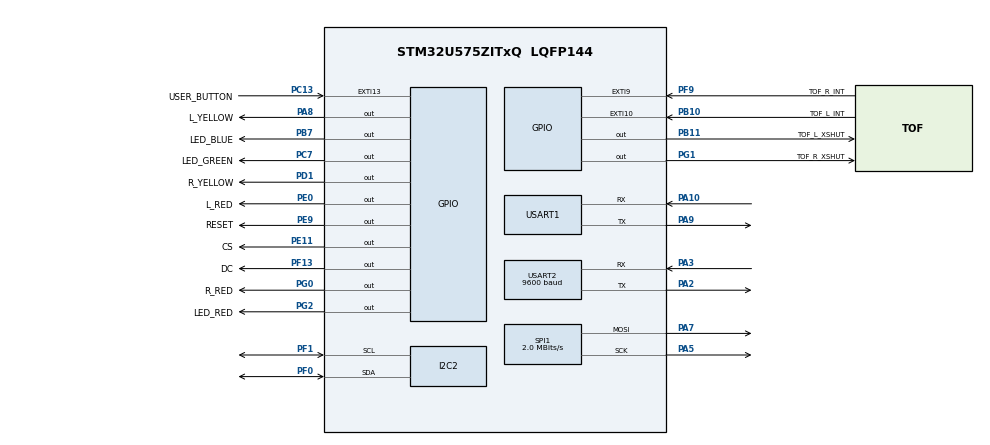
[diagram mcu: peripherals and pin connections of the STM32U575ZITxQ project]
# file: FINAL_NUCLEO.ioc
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CORTEX_M33_NS.userName=CORTEX_M33
I2C2.Timing=0x00000E14
Mcu.Family=STM32U5
Mcu.Name=STM32U575ZITxQ
Mcu.Package=LQFP144
NVIC.PriorityGroup=NVIC_PRIORITYGROUP_3
NVIC.TIM17_IRQn=true\:7\:0\:false\:false\:true\:false\:true\:true
NVIC.TimeBase=TIM17_IRQn
NVIC.TimeBaseIP=TIM17
PA10.Mode=Asynchronous
PA10.Signal=USART1_RX
PA13\ (JTMS/SWDIO).Signal=DEBUG_JTMS-SWDIO
PA14\ (JTCK/SWCLK).Signal=DEBUG_JTCK-SWCLK
PA2.Mode=Asynchronous
PA2.Signal=USART2_TX
PA3.Mode=Asynchronous
PA3.Signal=USART2_RX
PA5.Mode=TX_Only_Simplex_Unidirect_Master
PA5.Signal=SPI1_SCK
PA7.Mode=TX_Only_Simplex_Unidirect_Master
PA7.Signal=SPI1_MOSI
PA8.GPIO_Label=L_YELLOW
PA8.Signal=GPIO_Output
PA9.Mode=Asynchronous
PA9.Signal=USART1_TX
PB10.GPIO_Label=TOF_L_INT
PB10.GPIO_ModeDefaultEXTI=GPIO_MODE_IT_FALLING
PB10.Signal=GPXTI10
PB11.GPIO_Label=TOF_L_XSHUT
PB11.GPIO_PuPd=GPIO_PULLUP
PB11.PinState=GPIO_PIN_SET
PB11.Signal=GPIO_Output
PB3\ (JTDO/TRACESWO).Signal=DEBUG_JTDO-SWO
PB7.GPIO_Label=LED_BLUE
PB7.Signal=GPIO_Output
PC13.GPIO_Label=USER_BUTTON
PC13.Signal=GPXTI13
PC14-OSC32_IN\ (PC14).Mode=LSE-External-Oscillator
PC14-OSC32_IN\ (PC14).Signal=RCC_OSC32_IN
PC15-OSC32_OUT\ (PC15).Mode=LSE-External-Oscillator
PC15-OSC32_OUT\ (PC15).Signal=RCC_OSC32_OUT
PC7.GPIO_Label=LED_GREEN
PC7.Signal=GPIO_Output
PD1.GPIO_Label=R_YELLOW
PD1.Signal=GPIO_Output
PE0.GPIO_Label=L_RED
PE0.Signal=GPIO_Output
PE11.GPIO_Label=CS
PE11.Signal=GPIO_Output
PE9.GPIO_Label=RESET
PE9.Signal=GPIO_Output
PF0.Mode=I2C
PF0.Signal=I2C2_SDA
PF1.Mode=I2C
PF1.Signal=I2C2_SCL
PF13.GPIO_Label=DC
PF13.Signal=GPIO_Output
PF9.GPIO_Label=TOF_R_INT
PF9.GPIO_ModeDefaultEXTI=GPIO_MODE_IT_FALLING
PF9.Signal=GPXTI9
PG0.GPIO_Label=R_RED
PG0.Signal=GPIO_Output
PG1.GPIO_Label=TOF_R_XSHUT
PG1.GPIO_PuPd=GPIO_PULLUP
PG1.PinState=GPIO_PIN_SET
PG1.Signal=GPIO_Output
PG2.GPIO_Label=LED_RED
PG2.Signal=GPIO_Output
PH0-OSC_IN\ (PH0).Mode=HSE-External-Clock-Source
PH0-OSC_IN\ (PH0).Signal=RCC_OSC_IN
PWR.PowerMode=PWR_SMPS_SUPPLY
ProjectManager.HeapSize=0x200
ProjectManager.StackSize=0x400
ProjectManager.TargetToolchain=STM32CubeIDE
RCC.ADCFreq_Value=16000000
RCC.DACCLockSelectionVirtual=RCC_DAC1CLKSOURCE_LSI
RCC.EPOD_VALUE=4000000
RCC.HSE_VALUE=16000000
RCC.HSI48_VALUE=48000000
RCC.HSI_VALUE=16000000
RCC.LSIDIV_VALUE=32000
RCC.MSI_VALUE=4000000
RCC.USBFreq_Value=48000000
RCC.VCOOutputFreq_Value=516000000
SPI1.CalculateBaudRate=2.0 MBits/s
SPI1.DataSize=SPI_DATASIZE_8BIT
SPI1.Direction=SPI_DIRECTION_2LINES_TXONLY
SPI1.Mode=SPI_MODE_MASTER
SPI1.VirtualType=VM_MASTER
USART1.VirtualMode-Asynchronous=VM_ASYNC
USART2.BaudRate=9600
USART2.VirtualMode-Asynchronous=VM_ASYNC
VP_ICACHE_VS_ENABLE_ICACHE_MEMORY.Mode=Memoryregions
VP_ICACHE_VS_ICACHE.Mode=DirectMappedCache
VP_LPBAMQUEUE_VS_QUEUE.Mode=QUEUEMODE
VP_LPBAM_VS_SIG1.Mode=SmartRun
VP_LPBAM_VS_SIG4.Mode=LPDMA1
VP_MEMORYMAP_VS_MEMORYMAP.Mode=CurAppReg
VP_PWR_VS_DBSignals.Mode=DisableDeadBatterySignals
VP_PWR_VS_LPOM.Mode=PowerOptimisation
VP_PWR_VS_SECSignals.Mode=Security/Privilege
VP_SYS_VS_tim17.Mode=TIM17
board=NUCLEO-U575ZI-Q

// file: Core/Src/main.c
/* USER CODE BEGIN Header */
/**
  ******************************************************************************
  * @file           : main.c
  * @brief          : Main program body
  ******************************************************************************
  * @attention
  *
  * Copyright (c) 2025 STMicroelectronics.
  * All rights reserved.
  *
  * This software is licensed under terms that can be found in the LICENSE file
  * in the root directory of this software component.
  * If no LICENSE file comes with this software, it is provided AS-IS.
  *
  ******************************************************************************
  */
/* USER CODE END Header */
#include "main.h"

/* USER CODE BEGIN Includes */

#include <string.h>
#include "stdio.h"
#include "fonts.h"
#include "ssd1351.h"
#include "testimg.h"
#include "VL53Lx_api.h"

/* USER CODE END Includes */

/* USER CODE BEGIN PD */

#define is_interrupt 0
#define LIS3DH_I2C_ADDR 0x32
#define CTRL_REG1 0x20
#define OUT_X_L 0x28
#define OUT_X_H 0x29
#define OUT_Y_L 0x2A
#define OUT_Y_H 0x2B
#define OUT_Z_L 0x2C
#define OUT_Z_H 0x2D

/* USER CODE END PD */

I2C_HandleTypeDef hi2c2;

SPI_HandleTypeDef hspi1;

UART_HandleTypeDef huart1;
UART_HandleTypeDef huart2;

/* USER CODE BEGIN PV */

int status;
VL53LX_Dev_t                   devleft;
VL53LX_DEV                     DevLeft = &devleft;
volatile int IntCountLeft;

VL53LX_Dev_t                   devright;
VL53LX_DEV                     DevRight = &devright;
volatile int IntCountRight;

uint8_t accel_data_buffer[6];
char uart_buffer[64];
uint8_t rxData;

static float accel_values[3]; // Array to store X, Y, Z values

/* USER CODE END PV */

void SystemClock_Config(void);
static void SystemPower_Config(void);
static void MX_GPIO_Init(void);
static void MX_ICACHE_Init(void);
static void MX_I2C2_Init(void);
static void MX_USART1_UART_Init(void);
static void MX_SPI1_Init(void);
static void MX_USART2_UART_Init(void);
/* USER CODE BEGIN PFP */

#ifdef __GNUC__
#define PUTCHAR_PROTOTYPE int __io_putchar(int ch)
#else
#define PUTCHAR_PROTOTYPE int fputc(int ch, FILE *f)
#endif
PUTCHAR_PROTOTYPE
{
	HAL_UART_Transmit(&huart2, (uint8_t *)&ch, 1, 0xFFFF);
	return ch;
}

/* USER CODE END PFP */

/* USER CODE BEGIN 0 */

void HAL_UART_RxCpltCallback(UART_HandleTypeDef *huart)
{
  if(huart->Instance==USART2)
  {
    if(rxData==79) // Ascii value of 'O' is 79
    {
    	HAL_GPIO_WritePin(GPIOC, GPIO_PIN_7, 1);
    	snprintf(uart_buffer, sizeof(uart_buffer), "led on");
    	HAL_UART_Transmit(&huart2, (uint8_t *)uart_buffer, strlen(uart_buffer), HAL_MAX_DELAY);
    }
    else if (rxData==88) // Ascii value of 'X' is 88
    {
    	HAL_GPIO_WritePin(GPIOC, GPIO_PIN_7, 0);
    	snprintf(uart_buffer, sizeof(uart_buffer), "led off");
    	HAL_UART_Transmit(&huart2, (uint8_t *)uart_buffer, strlen(uart_buffer), HAL_MAX_DELAY);
    }
    HAL_UART_Receive_IT(&huart2,&rxData,1);
  }
}

void HAL_GPIO_EXTI_Callback(uint16_t GPIO_Pin)
{
	//LEFT
	if (GPIO_Pin==GPIO_PIN_10)
	{
		IntCountLeft++;
	}
	//RIGHT
	if (GPIO_Pin==GPIO_PIN_9)
	{
		IntCountRight++;
	}
}

float* ReadAccelerometer(void) {

	//Read 6 bytes of data (X_L, X_H, Y_L, Y_H, Z_L, Z_H)
	if (HAL_I2C_Mem_Read(&hi2c2, LIS3DH_I2C_ADDR, OUT_X_L | 0x80, I2C_MEMADD_SIZE_8BIT, accel_data_buffer, 6, HAL_MAX_DELAY) == HAL_OK) {
		int16_t x = (int16_t)((accel_data_buffer[1] << 8) | accel_data_buffer[0]);
		int16_t y = (int16_t)((accel_data_buffer[3] << 8) | accel_data_buffer[2]);
		int16_t z = (int16_t)((accel_data_buffer[5] << 8) | accel_data_buffer[4]);

		//Convert raw values
		accel_values[0] = x * 2.0 * 9.81 / 32768.0;
		accel_values[1] = y * 2.0 * 9.81 / 32768.0;
		accel_values[2] = z * 2.0 * 9.81 / 32768.0;

		//Format and send the data to UART
		snprintf(uart_buffer, sizeof(uart_buffer), "X: %.2f m/s^2, Y: %.2f m/s^2, Z: %.2f m/s^2\r\n", accel_values[0], accel_values[1], accel_values[2]); // @suppress("Float formatting support")
		HAL_UART_Transmit(&huart2, (uint8_t *)uart_buffer, strlen(uart_buffer), HAL_MAX_DELAY);

	} else {
		accel_values[0] = accel_values[1] = accel_values[2] = 0.0; // Error3
		strcpy(uart_buffer, "I2C Read Error\r\n");
		HAL_UART_Transmit(&huart1, (uint8_t *)uart_buffer, strlen(uart_buffer), HAL_MAX_DELAY);
	}
	return accel_values;
}

void DisplayOLED(void) {
    static bool screenIsRed = false;
    float* accel_values = ReadAccelerometer();

    if (accel_values[2] < -1.0) {
        if (!screenIsRed) {
            SSD1351_FillScreen(0xF800);  // fill red
            screenIsRed = true;
        }
    }
    else {
        if (screenIsRed) {
            SSD1351_FillScreen(0x0000);  // fill black
            screenIsRed = false;
        }
    }
}

/* USER CODE END 0 */

int main(void)
{

  /* USER CODE BEGIN 1 */

	uint8_t byteData;
	uint16_t wordData;
	VL53LX_MultiRangingData_t MultiRangingData;
	VL53LX_MultiRangingData_t *pMultiRangingData = &MultiRangingData;
	uint8_t NewDataReady=0;
	int no_of_object_found=0;
	int j;

  /* USER CODE END 1 */

  /* MCU Configuration--------------------------------------------------------*/

  /* Reset of all peripherals, Initializes the Flash interface and the Systick. */
  HAL_Init();

  /* Configure the System Power */
  SystemPower_Config();

  /* Configure the system clock */
  SystemClock_Config();

  /* Initialize all configured peripherals */
  MX_GPIO_Init();
  MX_ICACHE_Init();
  MX_I2C2_Init();
  MX_USART1_UART_Init();
  MX_SPI1_Init();
  MX_USART2_UART_Init();
  /* USER CODE BEGIN 2 */

  HAL_UART_Receive_IT(&huart2,&rxData,1);

  snprintf(uart_buffer, sizeof(uart_buffer), "BLUETOOTH LOG:\n");
  HAL_UART_Transmit(&huart2, (uint8_t *)uart_buffer, strlen(uart_buffer), HAL_MAX_DELAY);

  	// OLED Init
	SSD1351_Unselect();
	SSD1351_Init();

	// Set LEDs to High
	HAL_GPIO_WritePin(L_RED_GPIO_Port, L_RED_Pin, 1);
	HAL_GPIO_WritePin(L_YELLOW_GPIO_Port, L_YELLOW_Pin, 1);
	HAL_GPIO_WritePin(R_RED_GPIO_Port, R_RED_Pin, 1);
	HAL_GPIO_WritePin(R_YELLOW_GPIO_Port, R_YELLOW_Pin, 1);

	// Display Logo
	SSD1351_DrawImage(0, 0, 128, 128, (const uint16_t*)test_img_128x128);
	HAL_Delay(2500);
	SSD1351_FillScreen(0x0000);

	// Try to configure accelerometer
	uint8_t config[2] = {CTRL_REG1, 0x97};
	if (HAL_I2C_Master_Transmit(&hi2c2, LIS3DH_I2C_ADDR, config, 2, HAL_MAX_DELAY) != HAL_OK) {
		strcpy(uart_buffer, "Failed to configure accelerometer\r\n");
		HAL_UART_Transmit(&huart1, (uint8_t *)uart_buffer, strlen(uart_buffer), HAL_MAX_DELAY);
	}

	printf("VL53L4CX Initialization\n");
	DevLeft->I2cHandle = &hi2c2;
	DevRight->I2cHandle = &hi2c2;

	// ALL LOW
	HAL_GPIO_WritePin(TOF_L_XSHUT_GPIO_Port, TOF_L_XSHUT_Pin, GPIO_PIN_RESET);
	HAL_Delay(5);
	HAL_GPIO_WritePin(TOF_R_XSHUT_GPIO_Port, TOF_R_XSHUT_Pin, GPIO_PIN_RESET);
	HAL_Delay(5);
	// LEFT ToF HIGH
	HAL_GPIO_WritePin(TOF_L_XSHUT_GPIO_Port, TOF_L_XSHUT_Pin, GPIO_PIN_SET);
	HAL_Delay(5);

	DevLeft->I2cHandle = &hi2c2;
	DevLeft->I2cDevAddr = 0x52;
	status = VL53LX_SetDeviceAddress(DevLeft, 0X52);

	//ALL LOW
	HAL_GPIO_WritePin(TOF_L_XSHUT_GPIO_Port, TOF_L_XSHUT_Pin, GPIO_PIN_RESET);
	HAL_Delay(5);
	HAL_GPIO_WritePin(TOF_R_XSHUT_GPIO_Port, TOF_R_XSHUT_Pin, GPIO_PIN_RESET);
	HAL_Delay(5);

	// RIGHT ToF HIGH
	HAL_GPIO_WritePin(TOF_R_XSHUT_GPIO_Port, TOF_R_XSHUT_Pin, GPIO_PIN_SET);
	HAL_Delay(5);

	DevRight->I2cHandle = &hi2c2;
	DevRight->I2cDevAddr = 0x53;
	status = VL53LX_SetDeviceAddress(DevRight, 0X53);

	HAL_GPIO_WritePin(TOF_L_XSHUT_GPIO_Port, TOF_L_XSHUT_Pin, GPIO_PIN_SET);
	HAL_Delay(5);

	// device ID must be 0XEBAA, those lines can be used to check if the I2C basic functions have been implemented correctly
	VL53LX_RdByte(DevLeft, 0x010F, &byteData);
	printf("VL53L4CX Model_ID: %02X\n\r", byteData);
	VL53LX_RdByte(DevLeft, 0x0110, &byteData);
	printf("VL53L4CX Module_Type: %02X\n\r", byteData);
	VL53LX_RdWord(DevLeft, 0x010F, &wordData);
	printf("VL53L4CX: %02X\n\r", wordData);
	printf("VL53L4CX Address: %02X\n\r", DevLeft->I2cDevAddr);

	// device ID must be 0XEBAA, those lines can be used to check if the I2C basic functions have been implemented correctly
	VL53LX_RdByte(DevRight, 0x010F, &byteData);
	printf("VL53L4CX Model_ID: %02X\n\r", byteData);
	VL53LX_RdByte(DevRight, 0x0110, &byteData);
	printf("VL53L4CX Module_Type: %02X\n\r", byteData);
	VL53LX_RdWord(DevRight, 0x010F, &wordData);
	printf("VL53L4CX: %02X\n\r", wordData);
	printf("VL53L4CX Address: %02X\n\r", DevRight->I2cDevAddr);

	printf("Ranging loop starts\n");
	status = VL53LX_WaitDeviceBooted(DevLeft);
	if(status){
		printf("VL53LX_WaitDeviceBooted DevLeft failed: error = %d \n", status);
		while(1);
	}
	status = VL53LX_WaitDeviceBooted(DevRight);
	if(status){
		printf("VL53LX_WaitDeviceBooted DevRight failed: error = %d \n", status);
		while(1);
	}
	status = VL53LX_DataInit(DevLeft);
	if(status){
		printf("VL53LX_DataInit DevLeft failed: error = %d \n", status);
		while(1);
	}
	status = VL53LX_DataInit(DevRight);
	if(status){
		printf("VL53LX_DataInit DevRight failed: error = %d \n", status);
		while(1);
	}
	status = VL53LX_StartMeasurement(DevLeft);
	if(status){
		printf("VL53LX_StartMeasurement DevLeft failed: error = %d \n", status);
		while(1);
	}
	status = VL53LX_StartMeasurement(DevRight);
	if(status){
		printf("VL53LX_StartMeasurement DevRight failed: error = %d \n", status);
		while(1);
	}

  /* USER CODE END 2 */

  /* Infinite loop */
  /* USER CODE BEGIN WHILE */
  while (1)
  {
	  DisplayOLED();
	  if(!is_interrupt){ // polling mode
			status = VL53LX_GetMeasurementDataReady(DevLeft, &NewDataReady);
			HAL_Delay(5);
			if((!status)&&(NewDataReady!=0)){
				status = VL53LX_GetMultiRangingData(DevLeft, pMultiRangingData);
				no_of_object_found=pMultiRangingData->NumberOfObjectsFound;
				for(j=0;j<=no_of_object_found;j++){
					if (pMultiRangingData->RangeData[j].RangeMilliMeter > 30 && pMultiRangingData->RangeData[j].RangeMilliMeter < 5900) {
						printf("LEFT %d = %5dmm\n", j + 1, pMultiRangingData->RangeData[j].RangeMilliMeter);// @suppress("Float formatting support")
						if (pMultiRangingData->RangeData[j].RangeMilliMeter < 2000) {
							HAL_GPIO_WritePin(L_RED_GPIO_Port, L_RED_Pin, 0);
							HAL_GPIO_WritePin(L_YELLOW_GPIO_Port, L_YELLOW_Pin, 1);
						} else if (pMultiRangingData->RangeData[j].RangeMilliMeter >= 2000 && pMultiRangingData->RangeData[j].RangeMilliMeter < 4000) {
							HAL_GPIO_WritePin(L_RED_GPIO_Port, L_RED_Pin, 1);
							HAL_GPIO_WritePin(L_YELLOW_GPIO_Port, L_YELLOW_Pin, 0);
						} else {
							HAL_GPIO_WritePin(L_RED_GPIO_Port, L_RED_Pin, 1);
							HAL_GPIO_WritePin(L_YELLOW_GPIO_Port, L_YELLOW_Pin, 1);
						}
//						snprintf(uart_buffer, sizeof(uart_buffer), "LEFT %d = %5dmm\n", j + 1, pMultiRangingData->RangeData[j].RangeMilliMeter);
//						HAL_UART_Transmit(&huart2, (uint8_t *)uart_buffer, strlen(uart_buffer), HAL_MAX_DELAY);
					}
				}
				if (status==0){
					status = VL53LX_ClearInterruptAndStartMeasurement(DevLeft);
				}
			}
			status = VL53LX_GetMeasurementDataReady(DevRight, &NewDataReady);
			HAL_Delay(5);
			if((!status)&&(NewDataReady!=0)){
				status = VL53LX_GetMultiRangingData(DevRight, pMultiRangingData);
				no_of_object_found=pMultiRangingData->NumberOfObjectsFound;
				for(j=0;j<=no_of_object_found;j++){
					if (pMultiRangingData->RangeData[j].RangeMilliMeter > 30 && pMultiRangingData->RangeData[j].RangeMilliMeter < 5900) {
						printf("RIGHT %d = %5dmm\n", j + 1, pMultiRangingData->RangeData[j].RangeMilliMeter);// @suppress("Float formatting support")
						if (pMultiRangingData->RangeData[j].RangeMilliMeter < 2000) {
							HAL_GPIO_WritePin(R_RED_GPIO_Port, R_RED_Pin, 0);
							HAL_GPIO_WritePin(R_YELLOW_GPIO_Port, R_YELLOW_Pin, 1);
						} else if (pMultiRangingData->RangeData[j].RangeMilliMeter >= 2000 && pMultiRangingData->RangeData[j].RangeMilliMeter < 4000) {
							HAL_GPIO_WritePin(R_RED_GPIO_Port, R_RED_Pin, 1);
							HAL_GPIO_WritePin(R_YELLOW_GPIO_Port, R_YELLOW_Pin, 0);
						} else {
							HAL_GPIO_WritePin(R_RED_GPIO_Port, R_RED_Pin, 1);
							HAL_GPIO_WritePin(R_YELLOW_GPIO_Port, R_YELLOW_Pin, 1);
						}
//						snprintf(uart_buffer, sizeof(uart_buffer), "RIGHT %d = %5dmm\n", j + 1, pMultiRangingData->RangeData[j].RangeMilliMeter);
//						HAL_UART_Transmit(&huart2, (uint8_t *)uart_buffer, strlen(uart_buffer), HAL_MAX_DELAY);
					}
				}
				if (status==0){
					status = VL53LX_ClearInterruptAndStartMeasurement(DevRight);
				}
			}
		}
    /* USER CODE END WHILE */

  }
}

void SystemClock_Config(void)
{
  RCC_OscInitTypeDef RCC_OscInitStruct = {0};
  RCC_ClkInitTypeDef RCC_ClkInitStruct = {0};

  /** Configure the main internal regulator output voltage
  */
  if (HAL_PWREx_ControlVoltageScaling(PWR_REGULATOR_VOLTAGE_SCALE4) != HAL_OK)
  {
    Error_Handler();
  }

  /** Initializes the CPU, AHB and APB buses clocks
  */
  RCC_OscInitStruct.OscillatorType = RCC_OSCILLATORTYPE_MSI;
  RCC_OscInitStruct.MSIState = RCC_MSI_ON;
  RCC_OscInitStruct.MSICalibrationValue = RCC_MSICALIBRATION_DEFAULT;
  RCC_OscInitStruct.MSIClockRange = RCC_MSIRANGE_4;
  RCC_OscInitStruct.PLL.PLLState = RCC_PLL_NONE;
  if (HAL_RCC_OscConfig(&RCC_OscInitStruct) != HAL_OK)
  {
    Error_Handler();
  }

  /** Initializes the CPU, AHB and APB buses clocks
  */
  RCC_ClkInitStruct.ClockType = RCC_CLOCKTYPE_HCLK|RCC_CLOCKTYPE_SYSCLK
                              |RCC_CLOCKTYPE_PCLK1|RCC_CLOCKTYPE_PCLK2
                              |RCC_CLOCKTYPE_PCLK3;
  RCC_ClkInitStruct.SYSCLKSource = RCC_SYSCLKSOURCE_MSI;
  RCC_ClkInitStruct.AHBCLKDivider = RCC_SYSCLK_DIV1;
  RCC_ClkInitStruct.APB1CLKDivider = RCC_HCLK_DIV1;
  RCC_ClkInitStruct.APB2CLKDivider = RCC_HCLK_DIV1;
  RCC_ClkInitStruct.APB3CLKDivider = RCC_HCLK_DIV1;

  if (HAL_RCC_ClockConfig(&RCC_ClkInitStruct, FLASH_LATENCY_0) != HAL_OK)
  {
    Error_Handler();
  }
}

/**
  * @brief Power Configuration
  * @retval None
  */
static void SystemPower_Config(void)
{
  HAL_PWREx_EnableVddIO2();

  /*
   * Disable the internal Pull-Up in Dead Battery pins of UCPD peripheral
   */
  HAL_PWREx_DisableUCPDDeadBattery();

  /*
   * Switch to SMPS regulator instead of LDO
   */
  if (HAL_PWREx_ConfigSupply(PWR_SMPS_SUPPLY) != HAL_OK)
  {
    Error_Handler();
  }
}

static void MX_I2C2_Init(void)
{

  hi2c2.Instance = I2C2;
  hi2c2.Init.Timing = 0x00000E14;
  hi2c2.Init.OwnAddress1 = 0;
  hi2c2.Init.AddressingMode = I2C_ADDRESSINGMODE_7BIT;
  hi2c2.Init.DualAddressMode = I2C_DUALADDRESS_DISABLE;
  hi2c2.Init.OwnAddress2 = 0;
  hi2c2.Init.OwnAddress2Masks = I2C_OA2_NOMASK;
  hi2c2.Init.GeneralCallMode = I2C_GENERALCALL_DISABLE;
  hi2c2.Init.NoStretchMode = I2C_NOSTRETCH_DISABLE;
  if (HAL_I2C_Init(&hi2c2) != HAL_OK)
  {
    Error_Handler();
  }

  /** Configure Analogue filter
  */
  if (HAL_I2CEx_ConfigAnalogFilter(&hi2c2, I2C_ANALOGFILTER_ENABLE) != HAL_OK)
  {
    Error_Handler();
  }

  /** Configure Digital filter
  */
  if (HAL_I2CEx_ConfigDigitalFilter(&hi2c2, 0) != HAL_OK)
  {
    Error_Handler();
  }

}

static void MX_ICACHE_Init(void)
{

  /** Enable instruction cache in 1-way (direct mapped cache)
  */
  if (HAL_ICACHE_ConfigAssociativityMode(ICACHE_1WAY) != HAL_OK)
  {
    Error_Handler();
  }
  if (HAL_ICACHE_Enable() != HAL_OK)
  {
    Error_Handler();
  }

}

static void MX_SPI1_Init(void)
{

  SPI_AutonomousModeConfTypeDef HAL_SPI_AutonomousMode_Cfg_Struct = {0};

  /* SPI1 parameter configuration*/
  hspi1.Instance = SPI1;
  hspi1.Init.Mode = SPI_MODE_MASTER;
  hspi1.Init.Direction = SPI_DIRECTION_2LINES_TXONLY;
  hspi1.Init.DataSize = SPI_DATASIZE_8BIT;
  hspi1.Init.CLKPolarity = SPI_POLARITY_LOW;
  hspi1.Init.CLKPhase = SPI_PHASE_1EDGE;
  hspi1.Init.NSS = SPI_NSS_SOFT;
  hspi1.Init.BaudRatePrescaler = SPI_BAUDRATEPRESCALER_2;
  hspi1.Init.FirstBit = SPI_FIRSTBIT_MSB;
  hspi1.Init.TIMode = SPI_TIMODE_DISABLE;
  hspi1.Init.CRCCalculation = SPI_CRCCALCULATION_DISABLE;
  hspi1.Init.CRCPolynomial = 0x7;
  hspi1.Init.NSSPMode = SPI_NSS_PULSE_ENABLE;
  hspi1.Init.NSSPolarity = SPI_NSS_POLARITY_LOW;
  hspi1.Init.FifoThreshold = SPI_FIFO_THRESHOLD_01DATA;
  hspi1.Init.MasterSSIdleness = SPI_MASTER_SS_IDLENESS_00CYCLE;
  hspi1.Init.MasterInterDataIdleness = SPI_MASTER_INTERDATA_IDLENESS_00CYCLE;
  hspi1.Init.MasterReceiverAutoSusp = SPI_MASTER_RX_AUTOSUSP_DISABLE;
  hspi1.Init.MasterKeepIOState = SPI_MASTER_KEEP_IO_STATE_DISABLE;
  hspi1.Init.IOSwap = SPI_IO_SWAP_DISABLE;
  hspi1.Init.ReadyMasterManagement = SPI_RDY_MASTER_MANAGEMENT_INTERNALLY;
  hspi1.Init.ReadyPolarity = SPI_RDY_POLARITY_HIGH;
  if (HAL_SPI_Init(&hspi1) != HAL_OK)
  {
    Error_Handler();
  }
  HAL_SPI_AutonomousMode_Cfg_Struct.TriggerState = SPI_AUTO_MODE_DISABLE;
  HAL_SPI_AutonomousMode_Cfg_Struct.TriggerSelection = SPI_GRP1_GPDMA_CH0_TCF_TRG;
  HAL_SPI_AutonomousMode_Cfg_Struct.TriggerPolarity = SPI_TRIG_POLARITY_RISING;
  if (HAL_SPIEx_SetConfigAutonomousMode(&hspi1, &HAL_SPI_AutonomousMode_Cfg_Struct) != HAL_OK)
  {
    Error_Handler();
  }

}

static void MX_USART1_UART_Init(void)
{

  huart1.Instance = USART1;
  huart1.Init.BaudRate = 115200;
  huart1.Init.WordLength = UART_WORDLENGTH_8B;
  huart1.Init.StopBits = UART_STOPBITS_1;
  huart1.Init.Parity = UART_PARITY_NONE;
  huart1.Init.Mode = UART_MODE_TX_RX;
  huart1.Init.HwFlowCtl = UART_HWCONTROL_NONE;
  huart1.Init.OverSampling = UART_OVERSAMPLING_16;
  huart1.Init.OneBitSampling = UART_ONE_BIT_SAMPLE_DISABLE;
  huart1.Init.ClockPrescaler = UART_PRESCALER_DIV1;
  huart1.AdvancedInit.AdvFeatureInit = UART_ADVFEATURE_NO_INIT;
  if (HAL_UART_Init(&huart1) != HAL_OK)
  {
    Error_Handler();
  }
  if (HAL_UARTEx_SetTxFifoThreshold(&huart1, UART_TXFIFO_THRESHOLD_1_8) != HAL_OK)
  {
    Error_Handler();
  }
  if (HAL_UARTEx_SetRxFifoThreshold(&huart1, UART_RXFIFO_THRESHOLD_1_8) != HAL_OK)
  {
    Error_Handler();
  }
  if (HAL_UARTEx_DisableFifoMode(&huart1) != HAL_OK)
  {
    Error_Handler();
  }

}

static void MX_USART2_UART_Init(void)
{

  huart2.Instance = USART2;
  huart2.Init.BaudRate = 9600;
  huart2.Init.WordLength = UART_WORDLENGTH_8B;
  huart2.Init.StopBits = UART_STOPBITS_1;
  huart2.Init.Parity = UART_PARITY_NONE;
  huart2.Init.Mode = UART_MODE_TX_RX;
  huart2.Init.HwFlowCtl = UART_HWCONTROL_NONE;
  huart2.Init.OverSampling = UART_OVERSAMPLING_16;
  huart2.Init.OneBitSampling = UART_ONE_BIT_SAMPLE_DISABLE;
  huart2.Init.ClockPrescaler = UART_PRESCALER_DIV1;
  huart2.AdvancedInit.AdvFeatureInit = UART_ADVFEATURE_NO_INIT;
  if (HAL_UART_Init(&huart2) != HAL_OK)
  {
    Error_Handler();
  }
  if (HAL_UARTEx_SetTxFifoThreshold(&huart2, UART_TXFIFO_THRESHOLD_1_8) != HAL_OK)
  {
    Error_Handler();
  }
  if (HAL_UARTEx_SetRxFifoThreshold(&huart2, UART_RXFIFO_THRESHOLD_1_8) != HAL_OK)
  {
    Error_Handler();
  }
  if (HAL_UARTEx_DisableFifoMode(&huart2) != HAL_OK)
  {
    Error_Handler();
  }

}

static void MX_GPIO_Init(void)
{
  GPIO_InitTypeDef GPIO_InitStruct = {0};

  /* GPIO Ports Clock Enable */
  __HAL_RCC_GPIOC_CLK_ENABLE();
  __HAL_RCC_GPIOF_CLK_ENABLE();
  __HAL_RCC_GPIOH_CLK_ENABLE();
  __HAL_RCC_GPIOA_CLK_ENABLE();
  __HAL_RCC_GPIOG_CLK_ENABLE();
  __HAL_RCC_GPIOE_CLK_ENABLE();
  __HAL_RCC_GPIOB_CLK_ENABLE();
  __HAL_RCC_GPIOD_CLK_ENABLE();

  /*Configure GPIO pin Output Level */
  HAL_GPIO_WritePin(DC_GPIO_Port, DC_Pin, GPIO_PIN_RESET);

  /*Configure GPIO pin Output Level */
  HAL_GPIO_WritePin(GPIOG, R_RED_Pin|LED_RED_Pin, GPIO_PIN_RESET);

  /*Configure GPIO pin Output Level */
  HAL_GPIO_WritePin(TOF_R_XSHUT_GPIO_Port, TOF_R_XSHUT_Pin, GPIO_PIN_SET);

  /*Configure GPIO pin Output Level */
  HAL_GPIO_WritePin(GPIOE, RESET_Pin|CS_Pin|L_RED_Pin, GPIO_PIN_RESET);

  /*Configure GPIO pin Output Level */
  HAL_GPIO_WritePin(TOF_L_XSHUT_GPIO_Port, TOF_L_XSHUT_Pin, GPIO_PIN_SET);

  /*Configure GPIO pin Output Level */
  HAL_GPIO_WritePin(LED_GREEN_GPIO_Port, LED_GREEN_Pin, GPIO_PIN_RESET);

  /*Configure GPIO pin Output Level */
  HAL_GPIO_WritePin(L_YELLOW_GPIO_Port, L_YELLOW_Pin, GPIO_PIN_RESET);

  /*Configure GPIO pin Output Level */
  HAL_GPIO_WritePin(R_YELLOW_GPIO_Port, R_YELLOW_Pin, GPIO_PIN_RESET);

  /*Configure GPIO pin Output Level */
  HAL_GPIO_WritePin(LED_BLUE_GPIO_Port, LED_BLUE_Pin, GPIO_PIN_RESET);

  /*Configure GPIO pin : USER_BUTTON_Pin */
  GPIO_InitStruct.Pin = USER_BUTTON_Pin;
  GPIO_InitStruct.Mode = GPIO_MODE_IT_RISING;
  GPIO_InitStruct.Pull = GPIO_NOPULL;
  HAL_GPIO_Init(USER_BUTTON_GPIO_Port, &GPIO_InitStruct);

  /*Configure GPIO pin : TOF_R_INT_Pin */
  GPIO_InitStruct.Pin = TOF_R_INT_Pin;
  GPIO_InitStruct.Mode = GPIO_MODE_IT_FALLING;
  GPIO_InitStruct.Pull = GPIO_NOPULL;
  HAL_GPIO_Init(TOF_R_INT_GPIO_Port, &GPIO_InitStruct);

  /*Configure GPIO pin : DC_Pin */
  GPIO_InitStruct.Pin = DC_Pin;
  GPIO_InitStruct.Mode = GPIO_MODE_OUTPUT_PP;
  GPIO_InitStruct.Pull = GPIO_NOPULL;
  GPIO_InitStruct.Speed = GPIO_SPEED_FREQ_LOW;
  HAL_GPIO_Init(DC_GPIO_Port, &GPIO_InitStruct);

  /*Configure GPIO pins : R_RED_Pin LED_RED_Pin */
  GPIO_InitStruct.Pin = R_RED_Pin|LED_RED_Pin;
  GPIO_InitStruct.Mode = GPIO_MODE_OUTPUT_PP;
  GPIO_InitStruct.Pull = GPIO_NOPULL;
  GPIO_InitStruct.Speed = GPIO_SPEED_FREQ_LOW;
  HAL_GPIO_Init(GPIOG, &GPIO_InitStruct);

  /*Configure GPIO pin : TOF_R_XSHUT_Pin */
  GPIO_InitStruct.Pin = TOF_R_XSHUT_Pin;
  GPIO_InitStruct.Mode = GPIO_MODE_OUTPUT_PP;
  GPIO_InitStruct.Pull = GPIO_PULLUP;
  GPIO_InitStruct.Speed = GPIO_SPEED_FREQ_LOW;
  HAL_GPIO_Init(TOF_R_XSHUT_GPIO_Port, &GPIO_InitStruct);

  /*Configure GPIO pins : RESET_Pin CS_Pin L_RED_Pin */
  GPIO_InitStruct.Pin = RESET_Pin|CS_Pin|L_RED_Pin;
  GPIO_InitStruct.Mode = GPIO_MODE_OUTPUT_PP;
  GPIO_InitStruct.Pull = GPIO_NOPULL;
  GPIO_InitStruct.Speed = GPIO_SPEED_FREQ_LOW;
  HAL_GPIO_Init(GPIOE, &GPIO_InitStruct);

  /*Configure GPIO pin : TOF_L_INT_Pin */
  GPIO_InitStruct.Pin = TOF_L_INT_Pin;
  GPIO_InitStruct.Mode = GPIO_MODE_IT_FALLING;
  GPIO_InitStruct.Pull = GPIO_NOPULL;
  HAL_GPIO_Init(TOF_L_INT_GPIO_Port, &GPIO_InitStruct);

  /*Configure GPIO pin : TOF_L_XSHUT_Pin */
  GPIO_InitStruct.Pin = TOF_L_XSHUT_Pin;
  GPIO_InitStruct.Mode = GPIO_MODE_OUTPUT_PP;
  GPIO_InitStruct.Pull = GPIO_PULLUP;
  GPIO_InitStruct.Speed = GPIO_SPEED_FREQ_LOW;
  HAL_GPIO_Init(TOF_L_XSHUT_GPIO_Port, &GPIO_InitStruct);

  /*Configure GPIO pin : LED_GREEN_Pin */
  GPIO_InitStruct.Pin = LED_GREEN_Pin;
  GPIO_InitStruct.Mode = GPIO_MODE_OUTPUT_PP;
  GPIO_InitStruct.Pull = GPIO_NOPULL;
  GPIO_InitStruct.Speed = GPIO_SPEED_FREQ_LOW;
  HAL_GPIO_Init(LED_GREEN_GPIO_Port, &GPIO_InitStruct);

  /*Configure GPIO pin : L_YELLOW_Pin */
  GPIO_InitStruct.Pin = L_YELLOW_Pin;
  GPIO_InitStruct.Mode = GPIO_MODE_OUTPUT_PP;
  GPIO_InitStruct.Pull = GPIO_NOPULL;
  GPIO_InitStruct.Speed = GPIO_SPEED_FREQ_LOW;
  HAL_GPIO_Init(L_YELLOW_GPIO_Port, &GPIO_InitStruct);

  /*Configure GPIO pin : R_YELLOW_Pin */
  GPIO_InitStruct.Pin = R_YELLOW_Pin;
  GPIO_InitStruct.Mode = GPIO_MODE_OUTPUT_PP;
  GPIO_InitStruct.Pull = GPIO_NOPULL;
  GPIO_InitStruct.Speed = GPIO_SPEED_FREQ_LOW;
  HAL_GPIO_Init(R_YELLOW_GPIO_Port, &GPIO_InitStruct);

  /*Configure GPIO pin : LED_BLUE_Pin */
  GPIO_InitStruct.Pin = LED_BLUE_Pin;
  GPIO_InitStruct.Mode = GPIO_MODE_OUTPUT_PP;
  GPIO_InitStruct.Pull = GPIO_NOPULL;
  GPIO_InitStruct.Speed = GPIO_SPEED_FREQ_LOW;
  HAL_GPIO_Init(LED_BLUE_GPIO_Port, &GPIO_InitStruct);

}

void HAL_TIM_PeriodElapsedCallback(TIM_HandleTypeDef *htim)
{
  if (htim->Instance == TIM17) {
    HAL_IncTick();
  }
}

void Error_Handler(void)
{
  __disable_irq();
  while (1)
  {
  }
}
